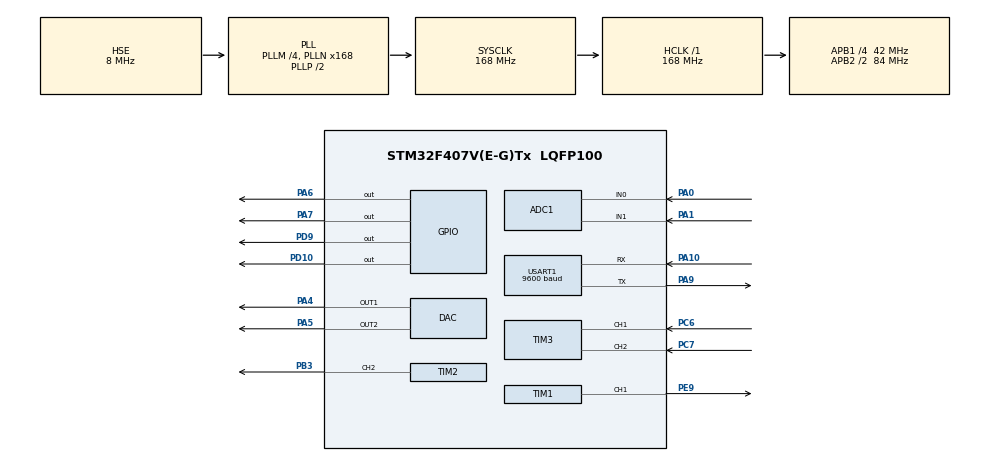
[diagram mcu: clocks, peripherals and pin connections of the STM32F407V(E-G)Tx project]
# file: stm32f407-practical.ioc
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ADC1.Channel-0\#ChannelRegularConversion=ADC_CHANNEL_0
ADC1.Channel-1\#ChannelRegularConversion=ADC_CHANNEL_1
ADC1.DMAContinuousRequests=ENABLE
ADC1.ExternalTrigConv=ADC_EXTERNALTRIGCONV_T2_CC2
ADC1.ExternalTrigConvEdge=ADC_EXTERNALTRIGCONVEDGE_FALLING
ADC1.NbrOfConversion=2
ADC1.NbrOfConversionFlag=1
ADC1.Rank-0\#ChannelRegularConversion=1
ADC1.Rank-1\#ChannelRegularConversion=2
ADC1.SamplingTime-0\#ChannelRegularConversion=ADC_SAMPLETIME_15CYCLES
ADC1.SamplingTime-1\#ChannelRegularConversion=ADC_SAMPLETIME_15CYCLES
ADC1.master=1
Dma.ADC1.0.Direction=DMA_PERIPH_TO_MEMORY
Dma.ADC1.0.FIFOMode=DMA_FIFOMODE_DISABLE
Dma.ADC1.0.Instance=DMA2_Stream0
Dma.ADC1.0.MemDataAlignment=DMA_MDATAALIGN_HALFWORD
Dma.ADC1.0.MemInc=DMA_MINC_ENABLE
Dma.ADC1.0.Mode=DMA_CIRCULAR
Dma.ADC1.0.PeriphDataAlignment=DMA_PDATAALIGN_HALFWORD
Dma.ADC1.0.PeriphInc=DMA_PINC_DISABLE
Dma.ADC1.0.Priority=DMA_PRIORITY_LOW
Dma.Request0=ADC1
FREERTOS.Tasks01=defaultTask,24,128,StartDefaultTask,Default,NULL,Dynamic,NULL,NULL
FREERTOS.configUSE_NEWLIB_REENTRANT=1
Mcu.Family=STM32F4
Mcu.Name=STM32F407V(E-G)Tx
Mcu.Package=LQFP100
NVIC.ADC_IRQn=true\:5\:0\:false\:false\:true\:true\:true\:true\:true
NVIC.DMA2_Stream0_IRQn=true\:5\:0\:false\:false\:true\:true\:false\:true\:true
NVIC.PriorityGroup=NVIC_PRIORITYGROUP_4
NVIC.TIM2_IRQn=true\:5\:0\:false\:false\:true\:true\:true\:true\:true
NVIC.TIM3_IRQn=true\:5\:0\:false\:false\:true\:true\:true\:true\:true
NVIC.TIM6_DAC_IRQn=true\:5\:0\:false\:false\:true\:false\:false\:true\:true
NVIC.TIM7_IRQn=true\:5\:0\:false\:false\:true\:true\:true\:true\:true
NVIC.TIM8_TRG_COM_TIM14_IRQn=true\:15\:0\:false\:false\:true\:false\:false\:true\:true
NVIC.TIM8_UP_TIM13_IRQn=true\:5\:0\:false\:false\:true\:true\:true\:true\:true
NVIC.TimeBase=TIM8_TRG_COM_TIM14_IRQn
NVIC.TimeBaseIP=TIM14
NVIC.USART1_IRQn=true\:5\:0\:false\:false\:true\:true\:true\:true\:true
PA0-WKUP.Signal=ADCx_IN0
PA1.Signal=ADCx_IN1
PA10.Mode=Asynchronous
PA10.Signal=USART1_RX
PA13.Mode=Serial_Wire
PA13.Signal=SYS_JTMS-SWDIO
PA14.Mode=Serial_Wire
PA14.Signal=SYS_JTCK-SWCLK
PA4.Signal=COMP_DAC1_group
PA5.Signal=COMP_DAC2_group
PA6.Signal=GPIO_Output
PA7.Signal=GPIO_Output
PA9.Mode=Asynchronous
PA9.Signal=USART1_TX
PB3.Signal=S_TIM2_CH2
PC6.Signal=S_TIM3_CH1
PC7.Signal=S_TIM3_CH2
PD10.Signal=GPIO_Output
PD9.Signal=GPIO_Output
PE9.Signal=S_TIM1_CH1
PH0-OSC_IN.Mode=HSE-External-Oscillator
PH0-OSC_IN.Signal=RCC_OSC_IN
PH1-OSC_OUT.Mode=HSE-External-Oscillator
PH1-OSC_OUT.Signal=RCC_OSC_OUT
ProjectManager.HeapSize=0x200
ProjectManager.StackSize=0x400
ProjectManager.TargetToolchain=STM32CubeIDE
RCC.48MHZClocksFreq_Value=84000000
RCC.AHBFreq_Value=168000000
RCC.APB1CLKDivider=RCC_HCLK_DIV4
RCC.APB1Freq_Value=42000000
RCC.APB1TimFreq_Value=84000000
RCC.APB2CLKDivider=RCC_HCLK_DIV2
RCC.APB2Freq_Value=84000000
RCC.APB2TimFreq_Value=168000000
RCC.CortexFreq_Value=168000000
RCC.HCLKFreq_Value=168000000
RCC.HSE_VALUE=8000000
RCC.HSI_VALUE=16000000
RCC.LSE_VALUE=32768
RCC.PLLM=4
RCC.PLLN=168
RCC.PLLSourceVirtual=RCC_PLLSOURCE_HSE
RCC.SYSCLKFreq_VALUE=168000000
RCC.SYSCLKSource=RCC_SYSCLKSOURCE_PLLCLK
RCC.VCOOutputFreq_Value=336000000
SH.ADCx_IN0.0=ADC1_IN0,IN0
SH.ADCx_IN1.0=ADC1_IN1,IN1
SH.COMP_DAC1_group.0=DAC_OUT1,DAC_OUT1
SH.COMP_DAC2_group.0=DAC_OUT2,DAC_OUT2
SH.S_TIM1_CH1.0=TIM1_CH1,PWM Generation1 CH1
SH.S_TIM2_CH2.0=TIM2_CH2,PWM Generation2 CH2
SH.S_TIM3_CH1.0=TIM3_CH1,Encoder_Interface
SH.S_TIM3_CH2.0=TIM3_CH2,Encoder_Interface
TIM1.Channel-PWM\ Generation1\ CH1=TIM_CHANNEL_1
TIM1.CounterMode=TIM_COUNTERMODE_CENTERALIGNED1
TIM1.TIM_MasterOutputTrigger=TIM_TRGO_UPDATE
TIM1.TIM_MasterSlaveMode=TIM_MASTERSLAVEMODE_ENABLE
TIM13.Period=100-1
TIM13.Prescaler=84-1
TIM2.Channel-PWM\ Generation2\ CH2=TIM_CHANNEL_2
TIM2.TIM_MasterSlaveMode=TIM_MASTERSLAVEMODE_DISABLE
TIM3.EncoderMode=TIM_ENCODERMODE_TI12
TIM3.IC1Filter=8
TIM3.IC2Filter=8
TIM7.Period=1000-1
TIM7.Prescaler=84-1
USART1.BaudRate=9600
USART1.VirtualMode=VM_ASYNC
VP_FREERTOS_VS_CMSIS_V2.Mode=CMSIS_V2
VP_SYS_VS_tim14.Mode=TIM14
VP_TIM13_VS_ClockSourceINT.Mode=Enable_Timer
VP_TIM2_VS_ClockSourceITR.Mode=TriggerSource_ITR0
VP_TIM2_VS_ControllerModeReset.Mode=Reset Mode
VP_TIM7_VS_ClockSourceINT.Mode=Enable_Timer
board=custom

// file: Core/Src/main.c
/* USER CODE BEGIN Header */
/**
 ******************************************************************************
 * @file           : main.c
 * @brief          : Main program body
 ******************************************************************************
 * @attention
 *
 * Copyright (c) 2024 STMicroelectronics.
 * All rights reserved.
 *
 * This software is licensed under terms that can be found in the LICENSE file
 * in the root directory of this software component.
 * If no LICENSE file comes with this software, it is provided AS-IS.
 *
 ******************************************************************************
 */
/* USER CODE END Header */
#include "main.h"
#include "cmsis_os.h"

/* USER CODE BEGIN Includes */
#include "virtual_motor.h"
#include "arm_math.h"
#include <math.h>
#include <stdlib.h>
#include <string.h>
#include <stdbool.h>
/* USER CODE END Includes */

/* USER CODE BEGIN PTD */
typedef enum
{
  MODE_OPEN_LOOP = 0,
  MODE_CLOSED_LOOP,
} control_mode_t;

typedef struct
{
  float duty_cycle;
  float meas_current;
  float meas_current_unfiltered;
  float meas_velocity;
  float meas_velocity_unfiltered;
  float meas_velocity_rpm;
  control_mode_t control_mode;
  float target;

  arm_pid_instance_f32 reg_velocity;
  float target_voltage;
  float target_rpm;
} dcmotor_t;

typedef struct
{
  uint32_t capture_cnt;
  int dir;
} encoder_t;
/* USER CODE END PTD */

/* USER CODE BEGIN PD */
#define UART_RX_BUF_SIZE 32
#define UART_TX_BUF_SIZE 64

#define UTILS_LP_FAST(value, sample, filter_constant) (value -= (filter_constant) * ((value) - (sample)))
/* USER CODE END PD */

ADC_HandleTypeDef hadc1;
DMA_HandleTypeDef hdma_adc1;

DAC_HandleTypeDef hdac;

TIM_HandleTypeDef htim1;
TIM_HandleTypeDef htim2;
TIM_HandleTypeDef htim3;
TIM_HandleTypeDef htim7;
TIM_HandleTypeDef htim13;

UART_HandleTypeDef huart1;

/* Definitions for defaultTask */
osThreadId_t defaultTaskHandle;
const osThreadAttr_t defaultTask_attributes = {
    .name = "defaultTask",
    .stack_size = 128 * 4,
    .priority = (osPriority_t)osPriorityNormal,
};
/* USER CODE BEGIN PV */
uint16_t adc_values[2] = {0};
uint8_t uart_byte = 0;

dcmotor_t dcmotor = {0};
encoder_t encoder = {0};
/* USER CODE END PV */

void SystemClock_Config(void);
static void MX_GPIO_Init(void);
static void MX_DMA_Init(void);
static void MX_ADC1_Init(void);
static void MX_TIM1_Init(void);
static void MX_TIM2_Init(void);
static void MX_TIM3_Init(void);
static void MX_TIM7_Init(void);
static void MX_USART1_UART_Init(void);
static void MX_DAC_Init(void);
static void MX_TIM13_Init(void);
void StartDefaultTask(void *argument);

/* USER CODE BEGIN PFP */
int parse_int_command(char *command);
/* USER CODE END PFP */

int main(void)
{

  /* MCU Configuration--------------------------------------------------------*/

  /* Reset of all peripherals, Initializes the Flash interface and the Systick. */
  HAL_Init();

  /* Configure the system clock */
  SystemClock_Config();

  /* Initialize all configured peripherals */
  MX_GPIO_Init();
  MX_DMA_Init();
  MX_ADC1_Init();
  MX_TIM1_Init();
  MX_TIM2_Init();
  MX_TIM3_Init();
  MX_TIM7_Init();
  MX_USART1_UART_Init();
  MX_DAC_Init();
  MX_TIM13_Init();
  /* USER CODE BEGIN 2 */

  virtual_motor_reinit();

  dcmotor.control_mode = MODE_CLOSED_LOOP;

  dcmotor.reg_velocity.Kp = 0.01f;
  dcmotor.reg_velocity.Ki = 0.00005f;
  dcmotor.reg_velocity.Kd = 0.0f;
  arm_pid_init_f32(&dcmotor.reg_velocity, 1);

  HAL_TIM_Base_Start_IT(&htim7);

  HAL_TIM_Encoder_Start_IT(&htim3, TIM_CHANNEL_1);
  HAL_TIM_Encoder_Start_IT(&htim3, TIM_CHANNEL_2);

  HAL_UART_Receive_IT(&huart1, &uart_byte, sizeof(uart_byte));

  HAL_ADC_Start_DMA(&hadc1, (uint32_t *)adc_values, 2);

  TIM2->ARR = (SystemCoreClock / 2 / 10000) - 1;
  TIM2->CCR2 = 2;
  HAL_TIM_PWM_Start_IT(&htim2, TIM_CHANNEL_2);

  TIM1->ARR = (SystemCoreClock / 2 / 10000) - 1;
  TIM2->CCR1 = 0;
  HAL_TIM_PWM_Start(&htim1, TIM_CHANNEL_1);

  /* USER CODE END 2 */

  /* Init scheduler */
  osKernelInitialize();

  /* Create the thread(s) */
  /* creation of defaultTask */
  defaultTaskHandle = osThreadNew(StartDefaultTask, NULL, &defaultTask_attributes);

  /* Start scheduler */
  osKernelStart();

  /* We should never get here as control is now taken by the scheduler */
  /* Infinite loop */
  while (1)
  {

  }
}

void SystemClock_Config(void)
{
  RCC_OscInitTypeDef RCC_OscInitStruct = {0};
  RCC_ClkInitTypeDef RCC_ClkInitStruct = {0};

  /** Configure the main internal regulator output voltage
   */
  __HAL_RCC_PWR_CLK_ENABLE();
  __HAL_PWR_VOLTAGESCALING_CONFIG(PWR_REGULATOR_VOLTAGE_SCALE1);

  /** Initializes the RCC Oscillators according to the specified parameters
   * in the RCC_OscInitTypeDef structure.
   */
  RCC_OscInitStruct.OscillatorType = RCC_OSCILLATORTYPE_HSE;
  RCC_OscInitStruct.HSEState = RCC_HSE_ON;
  RCC_OscInitStruct.PLL.PLLState = RCC_PLL_ON;
  RCC_OscInitStruct.PLL.PLLSource = RCC_PLLSOURCE_HSE;
  RCC_OscInitStruct.PLL.PLLM = 4;
  RCC_OscInitStruct.PLL.PLLN = 168;
  RCC_OscInitStruct.PLL.PLLP = RCC_PLLP_DIV2;
  RCC_OscInitStruct.PLL.PLLQ = 4;
  if (HAL_RCC_OscConfig(&RCC_OscInitStruct) != HAL_OK)
  {
    Error_Handler();
  }

  /** Initializes the CPU, AHB and APB buses clocks
   */
  RCC_ClkInitStruct.ClockType = RCC_CLOCKTYPE_HCLK | RCC_CLOCKTYPE_SYSCLK | RCC_CLOCKTYPE_PCLK1 | RCC_CLOCKTYPE_PCLK2;
  RCC_ClkInitStruct.SYSCLKSource = RCC_SYSCLKSOURCE_PLLCLK;
  RCC_ClkInitStruct.AHBCLKDivider = RCC_SYSCLK_DIV1;
  RCC_ClkInitStruct.APB1CLKDivider = RCC_HCLK_DIV4;
  RCC_ClkInitStruct.APB2CLKDivider = RCC_HCLK_DIV2;

  if (HAL_RCC_ClockConfig(&RCC_ClkInitStruct, FLASH_LATENCY_5) != HAL_OK)
  {
    Error_Handler();
  }
}

static void MX_ADC1_Init(void)
{

  ADC_ChannelConfTypeDef sConfig = {0};

  /** Configure the global features of the ADC (Clock, Resolution, Data Alignment and number of conversion)
   */
  hadc1.Instance = ADC1;
  hadc1.Init.ClockPrescaler = ADC_CLOCK_SYNC_PCLK_DIV4;
  hadc1.Init.Resolution = ADC_RESOLUTION_12B;
  hadc1.Init.ScanConvMode = ENABLE;
  hadc1.Init.ContinuousConvMode = DISABLE;
  hadc1.Init.DiscontinuousConvMode = DISABLE;
  hadc1.Init.ExternalTrigConvEdge = ADC_EXTERNALTRIGCONVEDGE_FALLING;
  hadc1.Init.ExternalTrigConv = ADC_EXTERNALTRIGCONV_T2_CC2;
  hadc1.Init.DataAlign = ADC_DATAALIGN_RIGHT;
  hadc1.Init.NbrOfConversion = 2;
  hadc1.Init.DMAContinuousRequests = ENABLE;
  hadc1.Init.EOCSelection = ADC_EOC_SINGLE_CONV;
  if (HAL_ADC_Init(&hadc1) != HAL_OK)
  {
    Error_Handler();
  }

  /** Configure for the selected ADC regular channel its corresponding rank in the sequencer and its sample time.
   */
  sConfig.Channel = ADC_CHANNEL_0;
  sConfig.Rank = 1;
  sConfig.SamplingTime = ADC_SAMPLETIME_15CYCLES;
  if (HAL_ADC_ConfigChannel(&hadc1, &sConfig) != HAL_OK)
  {
    Error_Handler();
  }

  /** Configure for the selected ADC regular channel its corresponding rank in the sequencer and its sample time.
   */
  sConfig.Channel = ADC_CHANNEL_1;
  sConfig.Rank = 2;
  if (HAL_ADC_ConfigChannel(&hadc1, &sConfig) != HAL_OK)
  {
    Error_Handler();
  }
}

static void MX_DAC_Init(void)
{

  DAC_ChannelConfTypeDef sConfig = {0};

  /** DAC Initialization
   */
  hdac.Instance = DAC;
  if (HAL_DAC_Init(&hdac) != HAL_OK)
  {
    Error_Handler();
  }

  /** DAC channel OUT1 config
   */
  sConfig.DAC_Trigger = DAC_TRIGGER_NONE;
  sConfig.DAC_OutputBuffer = DAC_OUTPUTBUFFER_ENABLE;
  if (HAL_DAC_ConfigChannel(&hdac, &sConfig, DAC_CHANNEL_1) != HAL_OK)
  {
    Error_Handler();
  }

  /** DAC channel OUT2 config
   */
  if (HAL_DAC_ConfigChannel(&hdac, &sConfig, DAC_CHANNEL_2) != HAL_OK)
  {
    Error_Handler();
  }
}

static void MX_TIM1_Init(void)
{

  TIM_MasterConfigTypeDef sMasterConfig = {0};
  TIM_OC_InitTypeDef sConfigOC = {0};
  TIM_BreakDeadTimeConfigTypeDef sBreakDeadTimeConfig = {0};

  htim1.Instance = TIM1;
  htim1.Init.Prescaler = 0;
  htim1.Init.CounterMode = TIM_COUNTERMODE_CENTERALIGNED1;
  htim1.Init.Period = 65535;
  htim1.Init.ClockDivision = TIM_CLOCKDIVISION_DIV1;
  htim1.Init.RepetitionCounter = 0;
  htim1.Init.AutoReloadPreload = TIM_AUTORELOAD_PRELOAD_DISABLE;
  if (HAL_TIM_PWM_Init(&htim1) != HAL_OK)
  {
    Error_Handler();
  }
  sMasterConfig.MasterOutputTrigger = TIM_TRGO_UPDATE;
  sMasterConfig.MasterSlaveMode = TIM_MASTERSLAVEMODE_ENABLE;
  if (HAL_TIMEx_MasterConfigSynchronization(&htim1, &sMasterConfig) != HAL_OK)
  {
    Error_Handler();
  }
  sConfigOC.OCMode = TIM_OCMODE_PWM1;
  sConfigOC.Pulse = 0;
  sConfigOC.OCPolarity = TIM_OCPOLARITY_HIGH;
  sConfigOC.OCNPolarity = TIM_OCNPOLARITY_HIGH;
  sConfigOC.OCFastMode = TIM_OCFAST_DISABLE;
  sConfigOC.OCIdleState = TIM_OCIDLESTATE_RESET;
  sConfigOC.OCNIdleState = TIM_OCNIDLESTATE_RESET;
  if (HAL_TIM_PWM_ConfigChannel(&htim1, &sConfigOC, TIM_CHANNEL_1) != HAL_OK)
  {
    Error_Handler();
  }
  sBreakDeadTimeConfig.OffStateRunMode = TIM_OSSR_DISABLE;
  sBreakDeadTimeConfig.OffStateIDLEMode = TIM_OSSI_DISABLE;
  sBreakDeadTimeConfig.LockLevel = TIM_LOCKLEVEL_OFF;
  sBreakDeadTimeConfig.DeadTime = 0;
  sBreakDeadTimeConfig.BreakState = TIM_BREAK_DISABLE;
  sBreakDeadTimeConfig.BreakPolarity = TIM_BREAKPOLARITY_HIGH;
  sBreakDeadTimeConfig.AutomaticOutput = TIM_AUTOMATICOUTPUT_DISABLE;
  if (HAL_TIMEx_ConfigBreakDeadTime(&htim1, &sBreakDeadTimeConfig) != HAL_OK)
  {
    Error_Handler();
  }
  HAL_TIM_MspPostInit(&htim1);
}

static void MX_TIM2_Init(void)
{

  TIM_SlaveConfigTypeDef sSlaveConfig = {0};
  TIM_MasterConfigTypeDef sMasterConfig = {0};
  TIM_OC_InitTypeDef sConfigOC = {0};

  htim2.Instance = TIM2;
  htim2.Init.Prescaler = 0;
  htim2.Init.CounterMode = TIM_COUNTERMODE_UP;
  htim2.Init.Period = 4294967295;
  htim2.Init.ClockDivision = TIM_CLOCKDIVISION_DIV1;
  htim2.Init.AutoReloadPreload = TIM_AUTORELOAD_PRELOAD_DISABLE;
  if (HAL_TIM_Base_Init(&htim2) != HAL_OK)
  {
    Error_Handler();
  }
  if (HAL_TIM_PWM_Init(&htim2) != HAL_OK)
  {
    Error_Handler();
  }
  sSlaveConfig.SlaveMode = TIM_SLAVEMODE_RESET;
  sSlaveConfig.InputTrigger = TIM_TS_ITR0;
  if (HAL_TIM_SlaveConfigSynchro(&htim2, &sSlaveConfig) != HAL_OK)
  {
    Error_Handler();
  }
  sMasterConfig.MasterOutputTrigger = TIM_TRGO_RESET;
  sMasterConfig.MasterSlaveMode = TIM_MASTERSLAVEMODE_DISABLE;
  if (HAL_TIMEx_MasterConfigSynchronization(&htim2, &sMasterConfig) != HAL_OK)
  {
    Error_Handler();
  }
  sConfigOC.OCMode = TIM_OCMODE_PWM1;
  sConfigOC.Pulse = 0;
  sConfigOC.OCPolarity = TIM_OCPOLARITY_HIGH;
  sConfigOC.OCFastMode = TIM_OCFAST_DISABLE;
  if (HAL_TIM_PWM_ConfigChannel(&htim2, &sConfigOC, TIM_CHANNEL_2) != HAL_OK)
  {
    Error_Handler();
  }
  HAL_TIM_MspPostInit(&htim2);
}

static void MX_TIM3_Init(void)
{

  TIM_Encoder_InitTypeDef sConfig = {0};
  TIM_MasterConfigTypeDef sMasterConfig = {0};

  htim3.Instance = TIM3;
  htim3.Init.Prescaler = 0;
  htim3.Init.CounterMode = TIM_COUNTERMODE_UP;
  htim3.Init.Period = 65535;
  htim3.Init.ClockDivision = TIM_CLOCKDIVISION_DIV1;
  htim3.Init.AutoReloadPreload = TIM_AUTORELOAD_PRELOAD_DISABLE;
  sConfig.EncoderMode = TIM_ENCODERMODE_TI12;
  sConfig.IC1Polarity = TIM_ICPOLARITY_RISING;
  sConfig.IC1Selection = TIM_ICSELECTION_DIRECTTI;
  sConfig.IC1Prescaler = TIM_ICPSC_DIV1;
  sConfig.IC1Filter = 8;
  sConfig.IC2Polarity = TIM_ICPOLARITY_RISING;
  sConfig.IC2Selection = TIM_ICSELECTION_DIRECTTI;
  sConfig.IC2Prescaler = TIM_ICPSC_DIV1;
  sConfig.IC2Filter = 8;
  if (HAL_TIM_Encoder_Init(&htim3, &sConfig) != HAL_OK)
  {
    Error_Handler();
  }
  sMasterConfig.MasterOutputTrigger = TIM_TRGO_RESET;
  sMasterConfig.MasterSlaveMode = TIM_MASTERSLAVEMODE_DISABLE;
  if (HAL_TIMEx_MasterConfigSynchronization(&htim3, &sMasterConfig) != HAL_OK)
  {
    Error_Handler();
  }
}

static void MX_TIM7_Init(void)
{

  TIM_MasterConfigTypeDef sMasterConfig = {0};

  htim7.Instance = TIM7;
  htim7.Init.Prescaler = 84 - 1;
  htim7.Init.CounterMode = TIM_COUNTERMODE_UP;
  htim7.Init.Period = 1000 - 1;
  htim7.Init.AutoReloadPreload = TIM_AUTORELOAD_PRELOAD_DISABLE;
  if (HAL_TIM_Base_Init(&htim7) != HAL_OK)
  {
    Error_Handler();
  }
  sMasterConfig.MasterOutputTrigger = TIM_TRGO_RESET;
  sMasterConfig.MasterSlaveMode = TIM_MASTERSLAVEMODE_DISABLE;
  if (HAL_TIMEx_MasterConfigSynchronization(&htim7, &sMasterConfig) != HAL_OK)
  {
    Error_Handler();
  }
}

static void MX_TIM13_Init(void)
{

  htim13.Instance = TIM13;
  htim13.Init.Prescaler = 84 - 1;
  htim13.Init.CounterMode = TIM_COUNTERMODE_UP;
  htim13.Init.Period = 100 - 1;
  htim13.Init.ClockDivision = TIM_CLOCKDIVISION_DIV1;
  htim13.Init.AutoReloadPreload = TIM_AUTORELOAD_PRELOAD_DISABLE;
  if (HAL_TIM_Base_Init(&htim13) != HAL_OK)
  {
    Error_Handler();
  }
}

static void MX_USART1_UART_Init(void)
{

  huart1.Instance = USART1;
  huart1.Init.BaudRate = 9600;
  huart1.Init.WordLength = UART_WORDLENGTH_8B;
  huart1.Init.StopBits = UART_STOPBITS_1;
  huart1.Init.Parity = UART_PARITY_NONE;
  huart1.Init.Mode = UART_MODE_TX_RX;
  huart1.Init.HwFlowCtl = UART_HWCONTROL_NONE;
  huart1.Init.OverSampling = UART_OVERSAMPLING_16;
  if (HAL_UART_Init(&huart1) != HAL_OK)
  {
    Error_Handler();
  }
}

static void MX_DMA_Init(void)
{

  /* DMA controller clock enable */
  __HAL_RCC_DMA2_CLK_ENABLE();

  /* DMA interrupt init */
  /* DMA2_Stream0_IRQn interrupt configuration */
  HAL_NVIC_SetPriority(DMA2_Stream0_IRQn, 5, 0);
  HAL_NVIC_EnableIRQ(DMA2_Stream0_IRQn);
}

static void MX_GPIO_Init(void)
{
  GPIO_InitTypeDef GPIO_InitStruct = {0};

  /* GPIO Ports Clock Enable */
  __HAL_RCC_GPIOH_CLK_ENABLE();
  __HAL_RCC_GPIOA_CLK_ENABLE();
  __HAL_RCC_GPIOE_CLK_ENABLE();
  __HAL_RCC_GPIOD_CLK_ENABLE();
  __HAL_RCC_GPIOC_CLK_ENABLE();
  __HAL_RCC_GPIOB_CLK_ENABLE();

  /*Configure GPIO pin Output Level */
  HAL_GPIO_WritePin(GPIOA, GPIO_PIN_6 | GPIO_PIN_7, GPIO_PIN_RESET);

  /*Configure GPIO pin Output Level */
  HAL_GPIO_WritePin(GPIOD, GPIO_PIN_9 | GPIO_PIN_10, GPIO_PIN_RESET);

  /*Configure GPIO pins : PA6 PA7 */
  GPIO_InitStruct.Pin = GPIO_PIN_6 | GPIO_PIN_7;
  GPIO_InitStruct.Mode = GPIO_MODE_OUTPUT_PP;
  GPIO_InitStruct.Pull = GPIO_NOPULL;
  GPIO_InitStruct.Speed = GPIO_SPEED_FREQ_LOW;
  HAL_GPIO_Init(GPIOA, &GPIO_InitStruct);

  /*Configure GPIO pins : PD9 PD10 */
  GPIO_InitStruct.Pin = GPIO_PIN_9 | GPIO_PIN_10;
  GPIO_InitStruct.Mode = GPIO_MODE_OUTPUT_PP;
  GPIO_InitStruct.Pull = GPIO_NOPULL;
  GPIO_InitStruct.Speed = GPIO_SPEED_FREQ_LOW;
  HAL_GPIO_Init(GPIOD, &GPIO_InitStruct);
}

/* USER CODE BEGIN 4 */
void HAL_TIM_IC_CaptureCallback(TIM_HandleTypeDef *htim)
{
  if (htim == &htim3)
  {
    if (htim3.Channel == HAL_TIM_ACTIVE_CHANNEL_1)
    {
      encoder.capture_cnt++;
      if (TIM3->CR1 & TIM_CR1_DIR)
      {
        encoder.dir = -1;
      }
      else
      {
        encoder.dir = 1;
      }
    }
  }
}

void HAL_ADC_ConvCpltCallback(ADC_HandleTypeDef *hadc)
{
  bool tim_count_down = (TIM1->CR1 & TIM_CR1_DIR);
  if (tim_count_down)
  {
    virtual_motor_run(dcmotor.duty_cycle);

    /*
    ADC step voltage = 3.3 / 4096 ≈ 0.00080586 V per step
    I = (min) + (V_ADC / 3.3) * (max - min)
    V_ADC = ADC_value * 0.00080586
    I = -50 + ((ADC_value * 0.00080586) / 3.3) * 100
    I = -50 + (ADC_value * 0.00080586 * 100) / 3.3
    I = -50 + ADC_value * 0.0244
    */
    dcmotor.meas_current_unfiltered = -50.0f + adc_values[0] * 0.0244f;
    UTILS_LP_FAST(dcmotor.meas_current, dcmotor.meas_current_unfiltered, 0.01f);

    if (dcmotor.target == 0.0f)
    {
      dcmotor.target_voltage = 0.0f;
      dcmotor.duty_cycle = 0.0f;
      TIM1->CCR1 = 0;
      return;
    }
    switch (dcmotor.control_mode)
    {
    case MODE_OPEN_LOOP:
    {
      dcmotor.target_voltage = V_BUS * dcmotor.target;
      dcmotor.duty_cycle = dcmotor.target;
      break;
    }
    case MODE_CLOSED_LOOP:
    {
      dcmotor.duty_cycle = dcmotor.target_voltage / V_BUS;
      break;
    }
    }
  }
  TIM1->CCR1 = (uint16_t)(dcmotor.duty_cycle * (float)TIM1->ARR);
}

void HAL_UART_RxCpltCallback(UART_HandleTypeDef *huart)
{
  static char rx_buf[UART_RX_BUF_SIZE] = {0};
  static char tx_buf[UART_TX_BUF_SIZE] = {0};
  static int rx_buf_idx = 0;

  if (huart != &huart1)
  {
    return;
  }

  if (rx_buf_idx >= UART_RX_BUF_SIZE)
  {
    // Произошло переполнение буфера
    rx_buf_idx = 0;
    memset((void *)rx_buf, 0, UART_RX_BUF_SIZE);
  }

  rx_buf[rx_buf_idx++] = uart_byte;

  if ((rx_buf_idx > 2) && (rx_buf[rx_buf_idx - 2] == '\r') && (rx_buf[rx_buf_idx - 1] == '\n'))
  {
    // Очистка буфера отправки
    memset((void *)tx_buf, 0, UART_TX_BUF_SIZE);

    if (!strcmp(rx_buf, "vm_connect\r\n"))
    {
      const char msg[] = "virtual motor connected\r\n";
      memcpy((void *)tx_buf, (void *)msg, sizeof(msg));
      HAL_UART_Transmit(&huart1, (void *)tx_buf, strlen(tx_buf), 100);

      virtual_motor_commander(VM_CONNECT);
    }
    else if (!strcmp(rx_buf, "vm_disconnect\r\n"))
    {
      const char msg[] = "virtual motor disconnected\r\n";
      memcpy((void *)tx_buf, (void *)msg, sizeof(msg));
      HAL_UART_Transmit(&huart1, (void *)tx_buf, strlen(tx_buf), 100);

      virtual_motor_commander(VM_DISCONNECT);
    }
    else if (!strcmp(rx_buf, "vm_load_inc\r\n"))
    {
      const char msg[] = "virtual motor load torque increased\r\n";
      memcpy((void *)tx_buf, (void *)msg, sizeof(msg));
      HAL_UART_Transmit(&huart1, (void *)tx_buf, strlen(tx_buf), 100);

      virtual_motor_commander(VM_LOAD_INC);
    }
    else if (!strcmp(rx_buf, "vm_load_dec\r\n"))
    {
      const char msg[] = "virtual motor load torque decreased\r\n";
      memcpy((void *)tx_buf, (void *)msg, sizeof(msg));
      HAL_UART_Transmit(&huart1, (void *)tx_buf, strlen(tx_buf), 100);

      virtual_motor_commander(VM_LOAD_DEC);
    }
    else if (strstr(rx_buf, "set_mode"))
    {
      int mode = parse_int_command(rx_buf);
      if (mode != -1)
      {
        // check enum
        dcmotor.control_mode = mode;
      }
    }
    else if (strstr(rx_buf, "set_target"))
    {
      int target = parse_int_command(rx_buf);
      if (target != -1)
      {
        dcmotor.target = (float)target * 0.01f;
      }
    }
    else
    {
      const char msg[] = "unknown command!\r\n";
      memcpy((void *)tx_buf, (void *)msg, sizeof(msg));
      HAL_UART_Transmit(&huart1, (void *)tx_buf, strlen(tx_buf), 100);
    }
    // Очищаем буфер
    rx_buf_idx = 0;
    memset((void *)rx_buf, 0, UART_RX_BUF_SIZE);
  }

  // Снова включаем приём 1 байта по прерыванию
  HAL_UART_Receive_IT(&huart1, &uart_byte, sizeof(uart_byte));
}

int parse_int_command(char *command)
{
  // Find the first underscore
  const char *first_underscore = strchr(command, '_');
  if (first_underscore)
  {
    // Find the second underscore
    const char *second_underscore = strchr(first_underscore + 1, '_');
    if (second_underscore)
    {
      const char *num_str = second_underscore + 1;
      int num = atoi(num_str);

      // Validate the range of the integer
      if (num >= 0 && num <= 100)
      {
        return num;
      }
    }
  }
  return -1;
}

/* USER CODE END 4 */

void StartDefaultTask(void *argument)
{
  /* USER CODE BEGIN 5 */
  /* Infinite loop */
  for (;;)
  {

    osDelay(100);
  }
  /* USER CODE END 5 */
}

void HAL_TIM_PeriodElapsedCallback(TIM_HandleTypeDef *htim)
{
  /* USER CODE BEGIN Callback 0 */
  static uint32_t enc_capture_cnt_prev = 0;
  static uint32_t enc_cutback_cnt = 0;
  /* USER CODE END Callback 0 */
  if (htim->Instance == TIM14)
  {
    HAL_IncTick();
  }
  /* USER CODE BEGIN Callback 1 */
  else if (htim->Instance == TIM7)
  {
    if (enc_cutback_cnt++ >= 1000)
    {
      dcmotor.meas_velocity = 0.0f;
      dcmotor.meas_velocity_rpm = 0.0f;
      dcmotor.meas_velocity_unfiltered = 0.0f;
      enc_cutback_cnt = 0;
    }

    if (encoder.capture_cnt != enc_capture_cnt_prev)
    {
      const float angle_per_pulse = (2.0f * PI) / (float)ENCODER_PPR;
      int32_t enc_capture_diff = abs(encoder.capture_cnt - enc_capture_cnt_prev);
      dcmotor.meas_velocity_unfiltered = (float)encoder.dir * ((float)enc_capture_diff * angle_per_pulse) / ((float)enc_cutback_cnt / 1000.0f);
      UTILS_LP_FAST(dcmotor.meas_velocity, dcmotor.meas_velocity_unfiltered, 0.2f);
      dcmotor.meas_velocity_rpm = dcmotor.meas_velocity * 9.549297f;

      enc_capture_cnt_prev = encoder.capture_cnt;
      enc_cutback_cnt = 0;
    }

    if (dcmotor.control_mode == MODE_CLOSED_LOOP && dcmotor.target != 0.0f)
      {
        dcmotor.target_rpm = (dcmotor.target * RPM_MAX);
        float target_vel = dcmotor.target_rpm / 9.549297f;

        arm_pid_f32(&dcmotor.reg_velocity, target_vel - dcmotor.meas_velocity);
        if (dcmotor.reg_velocity.state[2] > V_BUS)
        {
          dcmotor.reg_velocity.state[2] = V_BUS;
        }
        else if (dcmotor.reg_velocity.state[2] < 0.0f)
        {
          dcmotor.reg_velocity.state[2] = 0.0f;
        }
        dcmotor.target_voltage = dcmotor.reg_velocity.state[2];
      }
  }
  /* USER CODE END Callback 1 */
}

void Error_Handler(void)
{
  __disable_irq();
  while (1)
  {
  }
}
